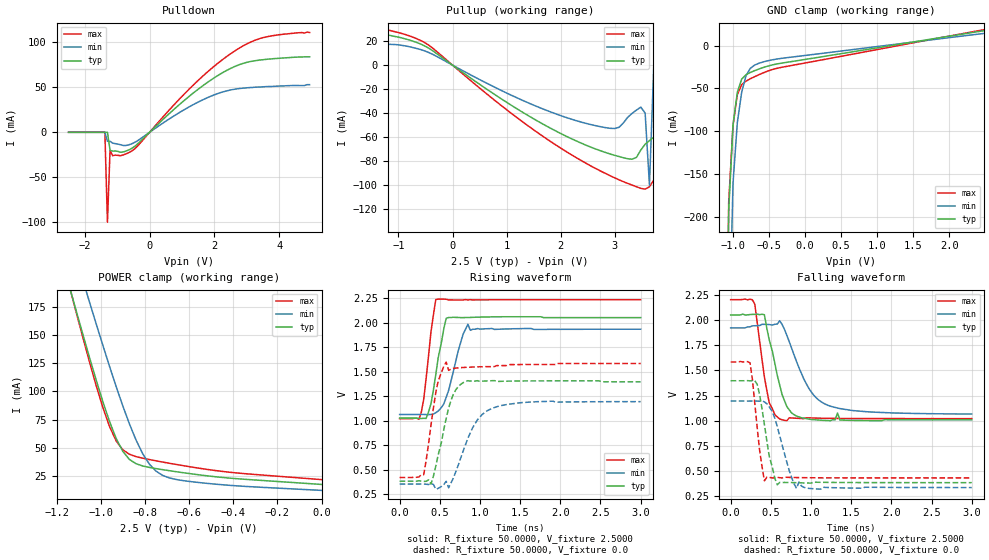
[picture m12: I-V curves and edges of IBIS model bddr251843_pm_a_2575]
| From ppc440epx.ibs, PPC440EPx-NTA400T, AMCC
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|   Model bddr251843_pm_a_2575
[Model]  bddr251843_pm_a_2575
Model_type I/O
Polarity   Non-Inverting
Vinl =   1.2500V
Vinh =   1.2500V
Vmeas =  1.2500V
Cref =   10.0000pF
Rref =   0.1250k
Vref =   1.2500V
C_comp   2.2900pF   2.2600pF   2.3300pF
[Temperature Range]   25.0000   0.1250k   0.0
[Voltage Range]   2.5000V   2.3000V   2.7000V
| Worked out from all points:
|   slope of the pulldown table from 0 to 0.375 V, typ, clamps not added: 28.8 ohm
|   slope of the pullup table from 0 to 0.375 V, typ, clamps not added: 31.1 ohm
|   rising waveform, R_fixture 50.0000, V_fixture 2.5000: 20-80 % time 127ps typ, 167ps min, 98.9ps max; typ from 1.03 V to 2.05 V
|   rising waveform, R_fixture 50.0000, V_fixture 0.0: 20-80 % time 172ps typ, 269ps min, 126ps max; typ from 0.385 V to 1.4 V
|   falling waveform, R_fixture 50.0000, V_fixture 2.5000: 20-80 % time 191ps typ, 308ps min, 129ps max; typ from 2.05 V to 1.01 V
|   falling waveform, R_fixture 50.0000, V_fixture 0.0: 20-80 % time 127ps typ, 178ps min, 90.7ps max; typ from 1.4 V to 0.385 V
[Pulldown]
|Voltage   I(typ)   I(min)   I(max)
-2.5V     0A         0A         0A
-1.38V    0A         0A         0A
-1.3V     0A         -10mA      -100mA
-1.22V    -20mA      -10mA      -20mA
-1.14V    -21mA      -12mA      -26mA
-900mV    -22.16mA   -13.78mA   -26.02mA
-500mV    -16.74mA   -11.95mA   -19.56mA
1.42V     45.7mA     32.15mA    55.01mA
2.14V     63.88mA    43.54mA    77.75mA
2.78V     75.39mA    48.71mA    93.92mA
3.58V     81.1mA     50.8mA     106mA
4.94V     84mA       53mA       111mA
[Pullup]
|Voltage   I(typ)   I(min)   I(max)
-2.44V    12mA       6mA        17mA
-600mV    17.77mA    13.09mA    20.77mA
3.56V     -65.9mA    -40mA      -103.4mA
3.64V     -63mA      -100mA     -101.4mA
3.72V     -60mA      0A         -95.8mA
3.8V      -100mA     0A         -92.1mA
3.88V     0A         0A         -90mA
3.96V     0A         0A         -80mA
4.04V     0A         0A         0A
4.12V     0A         0A         -10A
4.2V      0A         0A         0A
5V        0A         0A         0A
[GND_clamp]
|Voltage   I(typ)   I(min)   I(max)
-2.5V     -45.59A    -38.4A     -50.3A
-1.12V    -662.5mA   -1.123A    -598.8mA
-1.06V    -192.8mA   -364.1mA   -183mA
-1V       -92.52mA   -160.7mA   -92.88mA
-940mV    -54.41mA   -89.69mA   -57.14mA
-880mV    -39.07mA   -54.44mA   -45.46mA
-820mV    -33.97mA   -35.14mA   -41.4mA
-760mV    -31.27mA   -26.47mA   -38.65mA
-700mV    -29.16mA   -22.69mA   -36.21mA
-580mV    -25.48mA   -18.95mA   -31.71mA
-340mV    -20.62mA   -14.97mA   -25.53mA
2.48V     17.44mA    14.25mA    18.61mA
[POWER_clamp]
|Voltage   I(typ)   I(min)   I(max)
-2.49V    1.172A     1.148A     1.247A
-1.14V    191.6mA    237.1mA    191.7mA
-1.11V    170.6mA    217.4mA    169.2mA
-1.08V    149.9mA    197.9mA    147.1mA
-1.05V    129.5mA    178.5mA    125.5mA
-990mV    90.77mA    140.6mA    85.59mA
-930mV    58.35mA    104.2mA    56.17mA
-900mV    46.96mA    87.16mA    48.35mA
-840mV    36.04mA    56.94mA    42.32mA
-750mV    31.73mA    29.51mA    38.61mA
-600mV    27.36mA    20.39mA    33.46mA
0V        17.7mA     12.43mA    21.97mA
[Ramp]
| variable   typ   min   max
dV/dt_r  0.7270/0.1961n   0.5994/0.3030n   0.8344/0.1538n
dV/dt_f  0.7451/0.2071n   0.6030/0.3323n   0.8525/0.1523n
R_load = 50.0000
[Rising Waveform]
R_fixture= 50.0000
V_fixture= 2.5000
V_fixture_min= 2.3000
V_fixture_max= 2.7000
|time   V(typ)   V(min)   V(max)
0s        1.028V     1.064V     1.021V
240ps     1.024V     1.064V     1.015V
270ps     1.023V     1.065V     1.088V
360ps     1.091V     1.063V     1.661V
450ps     1.469V     1.082V     2.234V
580ps     2.044V     1.24V      2.237V
790ps     2.05V      1.881V     2.23V
850ps     2.051V     1.982V     2.23V
880ps     2.052V     1.921V     2.233V
3ns       2.05V      1.932V     2.232V
[Rising Waveform]
R_fixture= 50.0000
V_fixture= 0.0
|time   V(typ)   V(min)   V(max)
0s        385.3mV    356mV      422.4mV
300ps     382.7mV    356.2mV    452.2mV
390ps     356.1mV    359.3mV    954.3mV
480ps     653.1mV    312mV      1.406V
580ps     1.025V     384.2mV    1.598V
610ps     1.13V      318.5mV    1.513V
760ps     1.371V     619.6mV    1.541V
970ps     1.408V     1.011V     1.549V
1.15ns    1.408V     1.126V     1.552V
3ns       1.397V     1.195V     1.583V
[Falling Waveform]
R_fixture= 50.0000
V_fixture= 2.5000
V_fixture_min= 2.3000
V_fixture_max= 2.7000
|time   V(typ)   V(min)   V(max)
0s        2.05V      1.922V     2.202V
300ps     2.056V     1.943V     2.158V
420ps     2.052V     1.957V     1.433V
480ps     1.803V     1.955V     1.179V
610ps     1.355V     1.993V     1.018V
760ps     1.076V     1.717V     1.028V
970ps     1.016V     1.325V     1.028V
1.18ns    1.003V     1.164V     1.024V
1.33ns    1.077V     1.126V     1.023V
3ns       1.008V     1.067V     1.021V
[Falling Waveform]
R_fixture= 50.0000
V_fixture= 0.0
|time   V(typ)   V(min)   V(max)
0s        1.397V     1.196V     1.583V
240ps     1.396V     1.195V     1.576V
330ps     1.362V     1.195V     933.3mV
420ps     962.6mV    1.187V     403.9mV
480ps     649.5mV    1.137V     437.7mV
580ps     363.7mV    943mV      438.6mV
820ps     384.9mV    328.3mV    435.7mV
850ps     384mV      392.3mV    435.3mV
1.12ns    388.8mV    320.6mV    433.4mV
3ns       385.4mV    336.3mV    432.4mV
